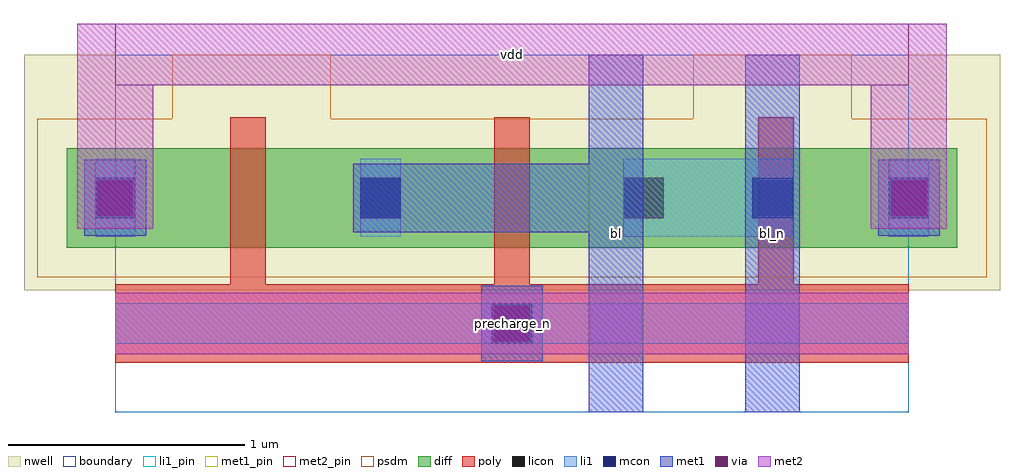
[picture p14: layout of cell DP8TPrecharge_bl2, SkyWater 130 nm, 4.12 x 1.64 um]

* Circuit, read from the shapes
.subckt DP8TPrecharge_bl2 bl bl_n precharge_n vdd
XM1 bl precharge_n vdd n1 sky130_fd_pr__pfet_01v8 w=0.42 l=0.15
XM2 bl_n precharge_n bl n1 sky130_fd_pr__pfet_01v8 w=0.42 l=0.15
XM3 vdd precharge_n bl_n n1 sky130_fd_pr__pfet_01v8 w=0.42 l=0.15
.ends

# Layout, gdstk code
import gdstk
lib = gdstk.Library(unit=1e-6, precision=1e-09)
def R(c, l, rs):  # rectangles x0, y0, x1, y1
    for r in rs: c.add(gdstk.rectangle(r[:2], r[2:], *l))
def P(c, l, *ps):  # polygons
    for p in ps: c.add(gdstk.Polygon(p, *l))
nwell = (64, 20)
diff = (65, 20)
poly = (66, 20)
licon = (66, 44)
li1_pin = (67, 16)
li1 = (67, 20)
mcon = (67, 44)
met1_pin = (68, 16)
met1 = (68, 20)
via = (68, 44)
met2_pin = (69, 16)
met2 = (69, 20)
psdm = (94, 20)
boundary = (235, 4)

dp8tprecharge_bl2 = lib.new_cell('DP8TPrecharge_bl2')
R(dp8tprecharge_bl2, nwell, [(-0.385,0.515,3.735,1.51)])
R(dp8tprecharge_bl2, diff, [(-0.205,0.695,3.555,1.115)])
P(dp8tprecharge_bl2, poly, [(0,0.21),(0,0.54),(0.485,0.54),(0.485,1.245),(0.635,1.245),(0.635,0.54),(1.6,0.54),(1.6,1.245),(1.75,1.245),(1.75,0.54),(2.715,0.54),(2.715,1.245),(2.865,1.245),(2.865,0.54),(3.35,0.54),(3.35,0.21)])
R(dp8tprecharge_bl2, licon, [(1.59,0.29,1.76,0.46), (-0.085,0.82,0.085,0.99), (1.035,0.82,1.205,0.99), (2.145,0.82,2.315,0.99), (3.265,0.82,3.435,0.99)])
R(dp8tprecharge_bl2, li1_pin, [(0,0.29,3.35,0.46)])
R(dp8tprecharge_bl2, li1, [(0,0.29,3.35,0.46), (-0.085,0.74,0.085,1.07), (1.035,0.74,1.205,1.07), (2.145,0.74,2.86,1.07), (3.265,0.74,3.435,1.07)])
R(dp8tprecharge_bl2, mcon, [(1.59,0.29,1.76,0.46), (-0.085,0.82,0.085,0.99), (1.035,0.82,1.205,0.99), (2.69,0.82,2.86,0.99), (3.265,0.82,3.435,0.99)])
R(dp8tprecharge_bl2, met1_pin, [(2,0,2.23,1.51), (2.66,0,2.89,1.51)])
R(dp8tprecharge_bl2, met1, [(2.66,0,2.89,1.51), (1.545,0.215,1.805,0.535), (-0.13,0.745,0.13,1.065), (3.22,0.745,3.48,1.065)])
P(dp8tprecharge_bl2, met1, [(2,0),(2,0.76),(1.005,0.76),(1.005,1.05),(2,1.05),(2,1.51),(2.23,1.51),(2.23,0)])
R(dp8tprecharge_bl2, via, [(1.6,0.3,1.75,0.45), (-0.075,0.83,0.075,0.98), (3.275,0.83,3.425,0.98)])
R(dp8tprecharge_bl2, met2_pin, [(0,0.245,3.35,0.505), (0,1.38,3.35,1.64)])
R(dp8tprecharge_bl2, met2, [(0,0.245,3.35,0.505)])
P(dp8tprecharge_bl2, met2, [(-0.16,0.775),(-0.16,1.64),(3.51,1.64),(3.51,0.775),(3.19,0.775),(3.19,1.38),(0.16,1.38),(0.16,0.775)])
P(dp8tprecharge_bl2, psdm, [(-0.33,0.57),(-0.33,1.24),(0.24,1.24),(0.24,1.51),(0.91,1.51),(0.91,1.24),(2.44,1.24),(2.44,1.51),(3.11,1.51),(3.11,1.24),(3.68,1.24),(3.68,0.57)])
R(dp8tprecharge_bl2, boundary, [(0,0,3.35,1.51)])
dp8tprecharge_bl2.add(gdstk.Label('precharge_n', (1.675,0.375), layer=69, texttype=16))
dp8tprecharge_bl2.add(gdstk.Label('vdd', (1.675,1.51), layer=69, texttype=16))
dp8tprecharge_bl2.add(gdstk.Label('bl', (2.115,0.755), layer=68, texttype=16))
dp8tprecharge_bl2.add(gdstk.Label('bl_n', (2.775,0.755), layer=68, texttype=16))
dp8tprecharge_bl2.add(gdstk.Label('precharge_n', (1.675,0.375), layer=67, texttype=16))

lib.write_gds('DP8TPrecharge_bl2.gds')
